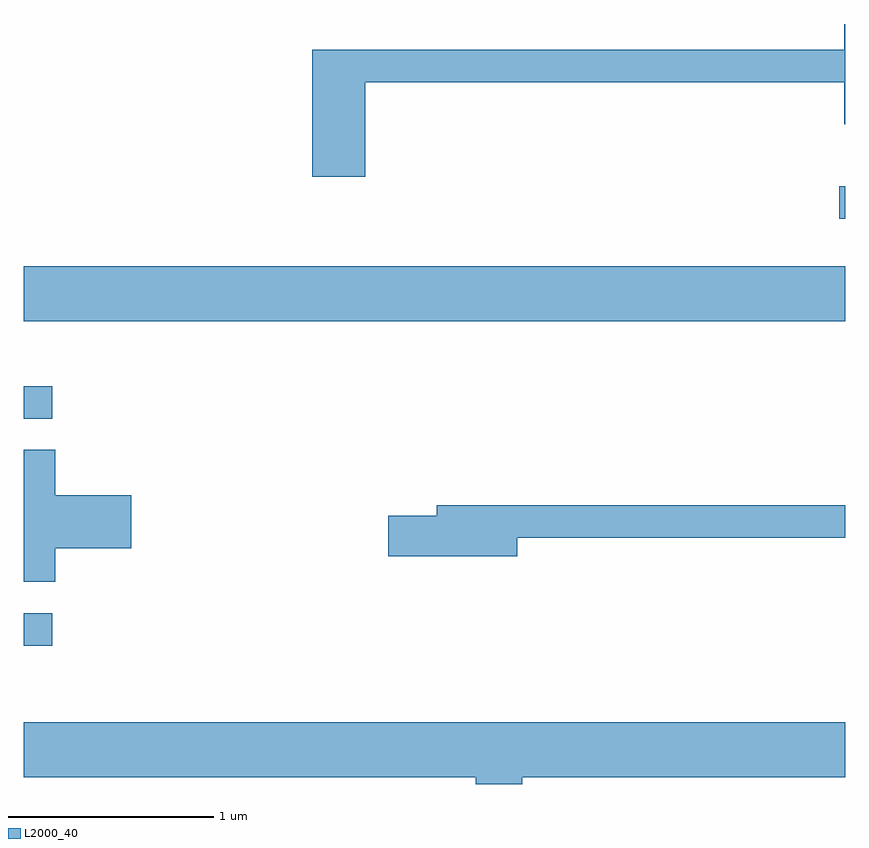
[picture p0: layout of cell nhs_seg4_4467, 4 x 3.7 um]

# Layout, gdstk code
import gdstk
lib = gdstk.Library(unit=1e-6, precision=1e-09)
def R(c, l, rs):  # rectangles x0, y0, x1, y1
    for r in rs: c.add(gdstk.rectangle(r[:2], r[2:], *l))
def P(c, l, *ps):  # polygons
    for p in ps: c.add(gdstk.Polygon(p, *l))
L2000_40 = (2000, 40)

nhs_seg4_4467 = lib.new_cell('nhs_seg4_4467')
R(nhs_seg4_4467, L2000_40, [(315.611,1348.656,315.748,1348.814), (315.611,1349.761,315.748,1349.919), (315.611,1350.236,319.611,1350.504), (319.583,1350.736,319.611,1350.894)])
P(nhs_seg4_4467, L2000_40, [(317.274,1351.401),(319.606,1351.401),(319.606,1351.196),(319.611,1351.196),(319.611,1351.684),(319.606,1351.684),(319.606,1351.559),(317.016,1351.559),(317.016,1350.941),(317.274,1350.941)],
  [(315.764,1349.131),(316.134,1349.131),(316.134,1349.389),(315.764,1349.389),(315.764,1349.609),(315.611,1349.609),(315.611,1348.966),(315.764,1348.966)],
  [(318.014,1349.181),(319.611,1349.181),(319.611,1349.339),(317.621,1349.339),(317.621,1349.289),(317.386,1349.289),(317.386,1349.091),(318.014,1349.091)],
  [(318.039,1348.016),(319.611,1348.016),(319.611,1348.284),(315.611,1348.284),(315.611,1348.016),(317.811,1348.016),(317.811,1347.982),(318.039,1347.982)])

lib.write_gds('nhs_seg4_4467.gds')
